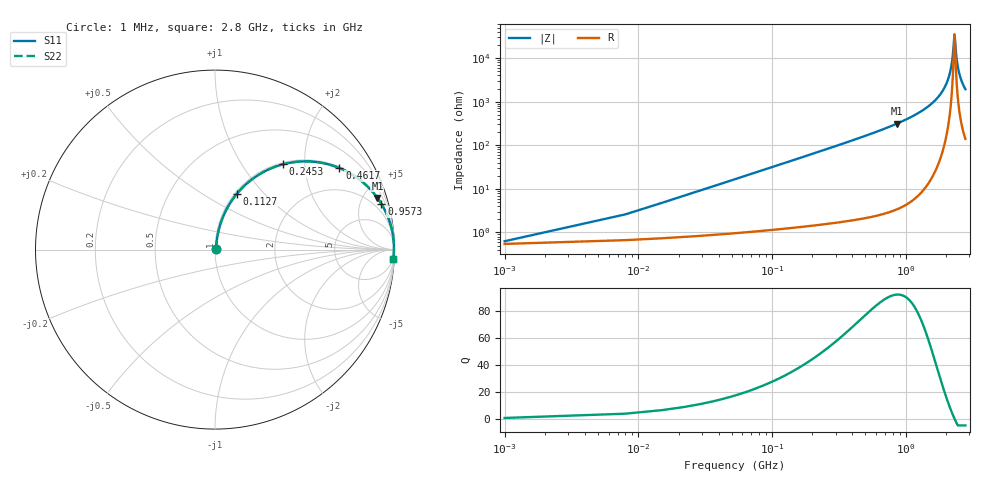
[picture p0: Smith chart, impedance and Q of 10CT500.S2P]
! Coilcraft 1008CT-500 Chip Inductor
! 17 July 2002
# MHZ S MA R 50
!Freq  MagS11  AngS11  MagS21  AngS21  MagS12  AngS12  MagS22  AngS22
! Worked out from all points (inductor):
!   403 points, 1 MHz to 2.8 GHz, reference 50 ohm
!   read as one part in series: L = 50 nH near 14.96 MHz
!   highest Q = 92.5 at 859.5 MHz (marker M1), where L = 57.9 nH
!   self-resonance near 2.318 GHz
!   S11 on the Smith chart (normalised r, x): 1 MHz: 1.01, +0.01; 112.7 MHz: 1.02, +0.71; 245.3 MHz: 1.03, +1.56; 461.7 MHz: 1.04, +3.02; 957.3 MHz: 1.08, +7.25; 2.8 GHz: 4, -39
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1  0.006265 29.7  0.9946 -0.2  0.9946 -0.2  0.006265 29.7
21.94  0.06868 79.6  0.9899 -3.9  0.9899 -3.9  0.06868 79.6
35.9  0.1115 79.2  0.9852 -6.4  0.9852 -6.4  0.1115 79.2
63.82  0.1951 75.9  0.971 -11.2  0.971 -11.2  0.1951 75.9
112.68  0.3311 68.8  0.9326 -19.3  0.9326 -19.3  0.3311 68.8
245.3  0.609 51.4  0.7813 -37.5  0.7813 -37.5  0.609 51.4
461.68  0.8287 33.3  0.5487 -56.0  0.5487 -56.0  0.8287 33.3
468.66  0.8328 32.9  0.5425 -56.4  0.5425 -56.4  0.8328 32.9
859.54  0.9496 17.7  0.3034 -71.7  0.3034 -71.7  0.9496 17.7
936.32  0.9591 15.8  0.273 -73.5  0.273 -73.5  0.9591 15.8
957.26  0.9613 15.4  0.2653 -74.0  0.2653 -74.0  0.9613 15.4
1403.98  0.9877 8.2  0.142 -81.0  0.142 -81.0  0.9877 8.2
1871.64  0.9959 3.4  0.05934 -84.4  0.05934 -84.4  0.9959 3.4
2032.18  0.9969 2.1  0.0366 -84.1  0.0366 -84.1  0.9969 2.1
2150.84  0.9972 1.2  0.02109 -81.7  0.02109 -81.7  0.9972 1.2
2241.58  0.9972 0.6  0.009993 -73.6  0.009993 -73.6  0.9972 0.6
2311.38  0.9972 0.1  0.003085 -23.4  0.003085 -23.4  0.9972 0.1
2339.3  0.9971 -0.1  0.00353 35.4  0.00353 35.4  0.9971 -0.1
2402.12  0.997 -0.5  0.009759 71.7  0.009759 71.7  0.997 -0.5
2485.88  0.9967 -1.1  0.01893 79.5  0.01893 79.5  0.9967 -1.1
2618.5  0.9961 -1.9  0.03308 82.3  0.03308 82.3  0.9961 -1.9
2800  0.995 -2.9  0.0515 82.9  0.0515 82.9  0.995 -2.9
